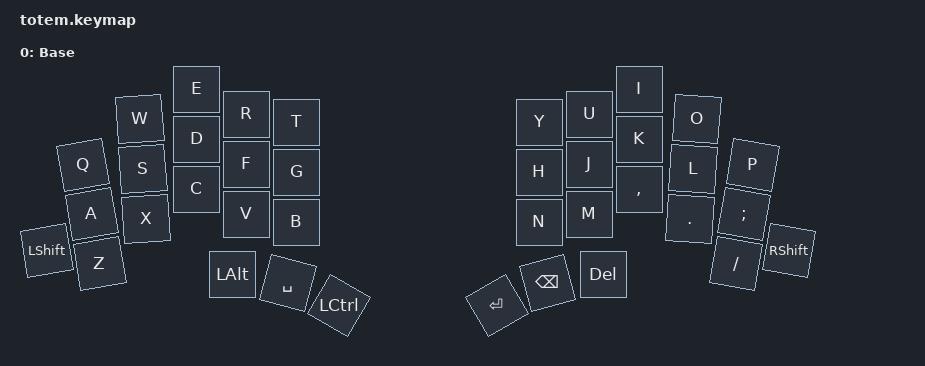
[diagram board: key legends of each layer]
/*
 * Ultra-minimal TOTEM keymap for boot testing.
 * No combos, no HRM, no macros — just plain keys.
 */

#include <behaviors.dtsi>
#include <dt-bindings/zmk/keys.h>
#include <dt-bindings/zmk/bt.h>

/ {
    keymap {
        compatible = "zmk,keymap";

        default_layer {
            display-name = "Base";
            bindings = <
                &kp Q       &kp W       &kp E       &kp R       &kp T           &kp Y       &kp U       &kp I       &kp O       &kp P
                &kp A       &kp S       &kp D       &kp F       &kp G           &kp H       &kp J       &kp K       &kp L       &kp SEMI
    &kp LSHFT   &kp Z       &kp X       &kp C       &kp V       &kp B           &kp N       &kp M       &kp COMMA   &kp DOT     &kp FSLH    &kp RSHFT
                                         &kp LALT    &kp SPACE   &kp LCTRL       &kp RET     &kp BSPC    &kp DEL
            >;
        };
    };
};
